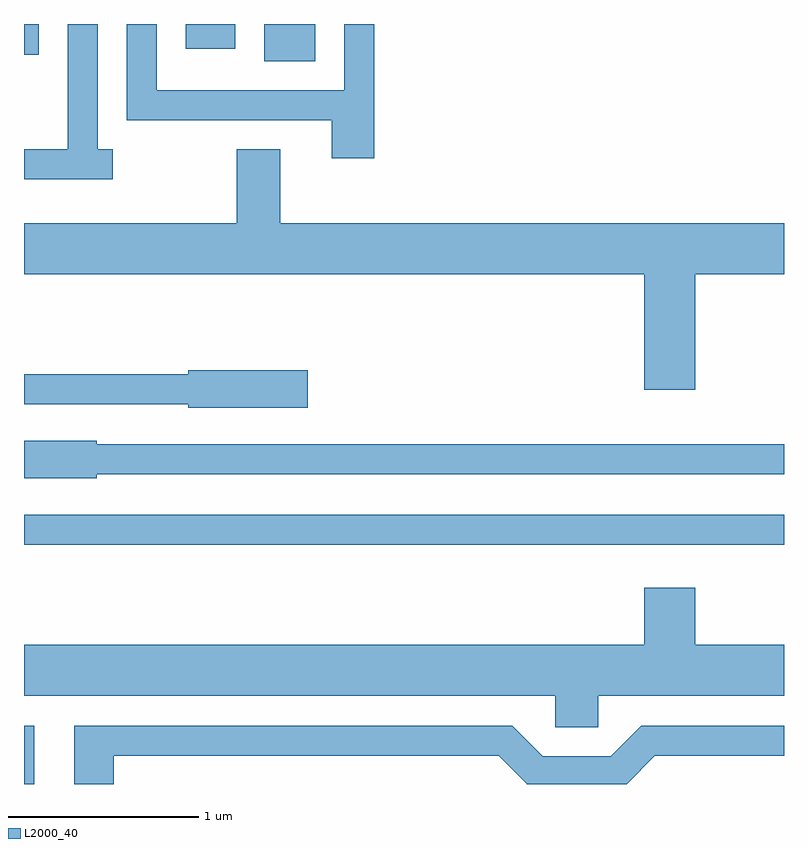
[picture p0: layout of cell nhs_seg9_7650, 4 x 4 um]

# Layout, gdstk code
import gdstk
lib = gdstk.Library(unit=1e-6, precision=1e-09)
def R(c, l, rs):  # rectangles x0, y0, x1, y1
    for r in rs: c.add(gdstk.rectangle(r[:2], r[2:], *l))
def P(c, l, *ps):  # polygons
    for p in ps: c.add(gdstk.Polygon(p, *l))
L2000_40 = (2000, 40)

nhs_seg9_7650 = lib.new_cell('nhs_seg9_7650')
R(nhs_seg9_7650, L2000_40, [(411.611,2022.432,411.664,2022.739), (411.611,2023.691,415.611,2023.849), (412.876,2026.236,413.144,2026.432), (411.611,2026.271,411.689,2026.432), (412.461,2026.301,412.724,2026.432)])
P(nhs_seg9_7650, L2000_40, [(413.454,2026.432),(413.296,2026.432),(413.296,2026.084),(412.309,2026.084),(412.309,2026.432),(412.151,2026.432),(412.151,2025.926),(413.231,2025.926),(413.231,2025.726),(413.454,2025.726)],
  [(412.078,2025.774),(411.999,2025.774),(411.999,2026.432),(411.841,2026.432),(411.841,2025.774),(411.611,2025.774),(411.611,2025.616),(412.078,2025.616)],
  [(415.144,2025.116),(415.611,2025.116),(415.611,2025.384),(412.959,2025.384),(412.959,2025.774),(412.731,2025.774),(412.731,2025.384),(411.611,2025.384),(411.611,2025.116),(414.876,2025.116),(414.876,2024.506),(415.144,2024.506)],
  [(413.104,2024.609),(412.476,2024.609),(412.476,2024.589),(411.611,2024.589),(411.611,2024.431),(412.476,2024.431),(412.476,2024.411),(413.104,2024.411)],
  [(411.994,2024.061),(415.611,2024.061),(415.611,2024.219),(411.994,2024.219),(411.994,2024.239),(411.611,2024.239),(411.611,2024.041),(411.994,2024.041)],
  [(414.634,2022.896),(415.611,2022.896),(415.611,2023.164),(415.144,2023.164),(415.144,2023.464),(414.876,2023.464),(414.876,2023.164),(411.611,2023.164),(411.611,2022.896),(414.406,2022.896),(414.406,2022.731),(414.634,2022.731)],
  [(412.084,2022.581),(414.109,2022.581),(414.256,2022.434),(414.256,2022.432),(414.783,2022.432),(414.932,2022.581),(415.611,2022.581),(415.611,2022.739),(414.859,2022.739),(414.699,2022.579),(414.342,2022.579),(414.182,2022.739),(411.876,2022.739),(411.876,2022.432),(412.084,2022.432)])

lib.write_gds('nhs_seg9_7650.gds')
